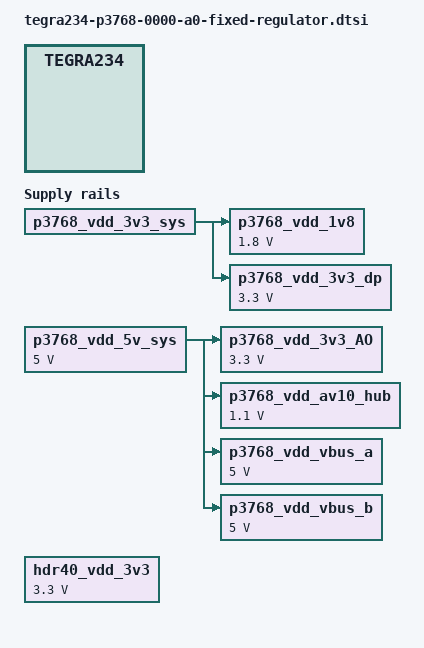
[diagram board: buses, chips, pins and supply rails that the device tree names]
/*
 * Copyright (c) 2022, NVIDIA CORPORATION.  All rights reserved.
 *
 * This program is free software; you can redistribute it and/or modify
 * it under the terms of the GNU General Public License as published by
 * the Free Software Foundation; either version 2 of the License, or
 * (at your option) any later version.
 *
 * This program is distributed in the hope that it will be useful, but WITHOUT
 * ANY WARRANTY; without even the implied warranty of MERCHANTABILITY or
 * FITNESS FOR A PARTICULAR PURPOSE.  See the GNU General Public License for
 * more details.
 */

/ {
	fixed-regulators {
		p3768_vdd_5v_sys: regulator@100 {
			/* Enable is automatic with DC_IN */
			compatible = "regulator-fixed";
			reg = <100>;
			regulator-name = "vdd-5v-sys";
			regulator-min-microvolt = <5000000>;
			regulator-max-microvolt = <5000000>;
			regulator-always-on;
		};
		hdr40_vdd_3v3: p3768_vdd_3v3_sys: regulator@101 {
			/* BUCK_3V3_EN enable is driven by button MCU */
			compatible = "regulator-fixed";
			reg = <101>;
			regulator-name = "vdd-3v3-sys";
			regulator-min-microvolt = <3300000>;
			regulator-max-microvolt = <3300000>;
			regulator-always-on;
		};
		p3768_vdd_1v8: regulator@102 {
			/*
			 * BUCK_3V3_PG enable is driven by p3768_vdd_3v3_sys
			 * which is power good from that regulator.
			 */
			compatible = "regulator-fixed";
			reg = <102>;
			regulator-name = "vdd-1v8";
			regulator-min-microvolt = <1800000>;
			regulator-max-microvolt = <1800000>;
			vin-supply = <&p3768_vdd_3v3_sys>;
			regulator-always-on;
		};
		p3768_vdd_3v3_AO: regulator@103 {
			/* BUCK_5V_PG enable is driven by p3768_vdd_5v_sys */
			compatible = "regulator-fixed";
			reg = <103>;
			regulator-name = "vdd-3v3-AO";
			regulator-min-microvolt = <3300000>;
			regulator-max-microvolt = <3300000>;
			vin-supply = <&p3768_vdd_5v_sys>;
			regulator-always-on;
		};
		p3768_vdd_av10_hub: regulator@104 {
			/* BUCK_3V3_PG enable is driven p3768_vdd_3v3_sys */
			compatible = "regulator-fixed";
			reg = <104>;
			regulator-name = "vdd-av10-hub";
			regulator-min-microvolt = <1100000>;
			regulator-max-microvolt = <1100000>;
			vin-supply = <&p3768_vdd_5v_sys>;
			regulator-always-on;
		};
		p3768_vdd_vbus_a: regulator@105 {
			/* HUB_DSP12_PWR_EN enable is driven usb hub's gpio */
			compatible = "regulator-fixed";
			reg = <105>;
			regulator-name = "vdd-vbus-a";
			regulator-min-microvolt = <5000000>;
			regulator-max-microvolt = <5000000>;
			vin-supply = <&p3768_vdd_5v_sys>;
			regulator-always-on;
		};
		p3768_vdd_vbus_b: regulator@106 {
			/* HUB_DSP34_PWR_EN enable is driven usb hub's gpio */
			compatible = "regulator-fixed";
			reg = <106>;
			regulator-name = "vdd-vbus-b";
			regulator-min-microvolt = <5000000>;
			regulator-max-microvolt = <5000000>;
			vin-supply = <&p3768_vdd_5v_sys>;
			regulator-always-on;
		};
		p3768_vdd_3v3_dp: regulator@107 {
			/* BUCK_3V3_PG enable is driven 3v3_sys */
			compatible = "regulator-fixed";
			reg = <107>;
			regulator-name = "vdd-3v3-dp";
			regulator-min-microvolt = <3300000>;
			regulator-max-microvolt = <3300000>;
			vin-supply = <&p3768_vdd_3v3_sys>;
			regulator-always-on;
		};
	};
};
